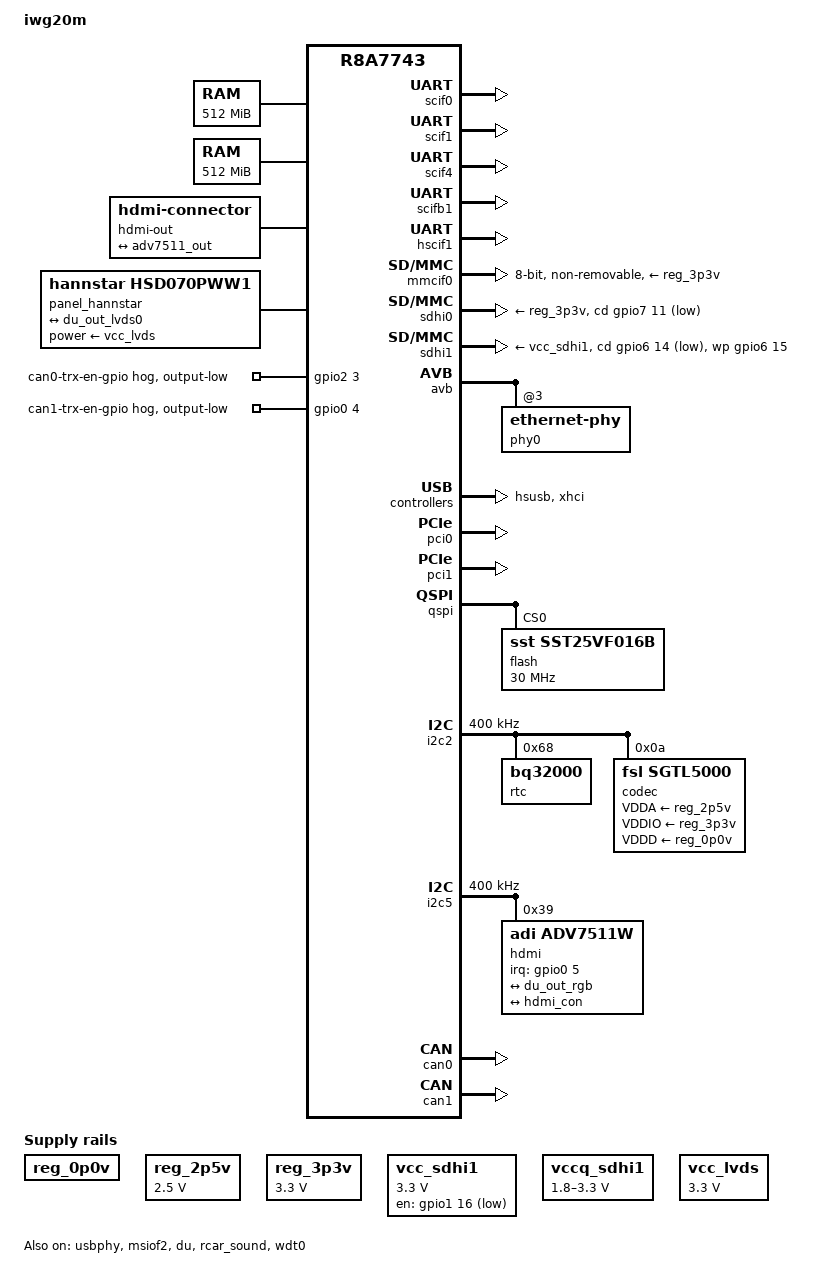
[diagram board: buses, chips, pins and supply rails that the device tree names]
/*
 * Copyright (c) 2015 iWave Systems Technologies Pvt. Ltd.
 *
 * The code contained herein is licensed under the GNU General Public
 * License. You may obtain a copy of the GNU General Public License
 * Version 2 or later at the following locations:
 *
 * http://www.opensource.org/licenses/gpl-license.html
 * http://www.gnu.org/copyleft/gpl.html
 */

/dts-v1/;
#include "r8a7743.dtsi"
#include <dt-bindings/gpio/gpio.h>
#include <dt-bindings/input/input.h>

/ {
	model = "iwg20m";
	compatible = "iw,iwg20m", "renesas,r8a7743";

	aliases {
		serial0 = &scif0;
		serial1 = &scif1;
		serial2 = &scif4;
		serial3 = &scifb1;
		serial4 = &hscif1;
		eth = &avb;
	};

	memory@40000000 {
		device_type = "memory";
		reg = <0 0x40000000 0 0x20000000>;
	};

	memory@200000000 {
		device_type = "memory";
		reg = <2 0x00000000 0 0x20000000>;
	};

	reg_0p0v: 0p0v {
		compatible = "regulator-fixed";
		regulator-name = "0P0V";
		regulator-min-microvolt = <0000000>;
		regulator-max-microvolt = <0000000>;
		regulator-always-on;
	};

	reg_2p5v: 2p5v {
		compatible = "regulator-fixed";
		regulator-name = "2P5V";
		regulator-min-microvolt = <2500000>;
		regulator-max-microvolt = <2500000>;
		regulator-always-on;
	};

	reg_3p3v: 3p3v {
		compatible = "regulator-fixed";
		regulator-name = "3P3V";
		regulator-min-microvolt = <3300000>;
		regulator-max-microvolt = <3300000>;
		regulator-always-on;
		regulator-boot-on;
	};

	vcc_sdhi1: reg_vcc_sdhi1 {
		compatible = "regulator-fixed";

		regulator-name = "SDHI1 Vcc";
		regulator-min-microvolt = <3300000>;
		regulator-max-microvolt = <3300000>;

		gpio = <&gpio1 16 GPIO_ACTIVE_LOW>;
	};

	vccq_sdhi1: reg_vccq_sdhi1 {
		compatible = "regulator-gpio";

		regulator-name = "SDHI1 VccQ";
		regulator-min-microvolt = <1800000>;
		regulator-max-microvolt = <3300000>;

		gpios = <&gpio2 30 GPIO_ACTIVE_LOW>;
		gpios-states = <1>;
		states = <3300000 1
				  1800000 0>;
	};

	vcc_lvds: regulator@4 {
		compatible = "regulator-fixed";

		regulator-name = "panel vcc";
		regulator-min-microvolt = <3300000>;
		regulator-max-microvolt = <3300000>;
		regulator-always-on;
	};

	x3_clk: x3-clock {
		compatible = "fixed-clock";
		#clock-cells = <0>;
		clock-frequency = <148500000>;
	};

	x9_clk: x9-clock {
		compatible = "fixed-clock";
		#clock-cells = <0>;
		clock-frequency = <26000000>;
		clock-output-names = "audio_clock";
	};

	hdmi-out {
		compatible = "hdmi-connector";
		type = "a";

		port {
			hdmi_con: endpoint {
				remote-endpoint = <&adv7511_out>;
			};
		};
	};

	panel_hannstar: panel@0 {
		compatible = "hannstar,hsd070pww1", "simple-panel";
		power-supply = <&vcc_lvds>;

		ports {
			#address-cells = <1>;
			#size-cells = <0>;

			port@0 {
				#address-cells = <1>;
				#size-cells = <0>;
				reg = <0>;
				panel_input: endpoint {
					reg = <0>;
					remote-endpoint = <&du_out_lvds0>;
				};
			};
		};
	};

	sound {
		compatible = "simple-audio-card";

		simple-audio-card,format = "i2s";
		simple-audio-card,bitclock-master = <&soundcodec>;
		simple-audio-card,frame-master = <&soundcodec>;
		simple-audio-card,routing =
					"MIC_IN", "Mic Jack",
					"Mic Jack", "Mic Bias",
					"Headphone Jack", "HP_OUT";

		simple-audio-card,cpu {
			sound-dai = <&rcar_sound>;
		};

		soundcodec: simple-audio-card,codec {
			sound-dai = <&codec>;
			clocks = <&x9_clk>;
			system-clock-frequency = <26000000>;
		};
	};
};

&extal_clk {
	clock-frequency = <20000000>;
};

&pfc {
	scif0_pins: serial0 {
		renesas,groups = "scif0_data_d";
		renesas,function = "scif0";
	};

	scif1_pins: serial1 {
		renesas,groups = "scif1_data_d";
		renesas,function = "scif1";
	};

	scif4_pins: serial2 {
		renesas,groups = "scif4_data_c";
		renesas,function = "scif4";
	};

	scifb1_pins: serial3 {
		renesas,groups = "scifb1_data_d", "scifb1_ctrl";
		renesas,function = "scifb1";
	};

	hscif1_pins: serial4 {
                renesas,groups = "hscif1_data_c", "hscif1_ctrl_c";
                renesas,function = "hscif1";
	};

	mmcif0_pins: mmc {
		renesas,groups = "mmc_data8", "mmc_ctrl";
		renesas,function = "mmc";
	};

	sdhi0_pins: sd0 {
		renesas,groups = "sdhi0_data4", "sdhi0_ctrl";
		renesas,function = "sdhi0";
	};

	sdhi1_pins: sd2 {
		renesas,groups = "sdhi1_data4", "sdhi1_ctrl";
		renesas,function = "sdhi1";
	};

	avb_pins: avb {
		renesas,groups = "avb_mdio", "avb_gmii", "avb_phy_int";
		renesas,function = "avb";
	};

	usb0_pins: usb0 {
		renesas,groups = "usb0";
		renesas,function = "usb0";
	};

	usb1_pins: usb1 {
		renesas,groups = "usb1";
		renesas,function = "usb1";
	};

	qspi_pins: spi0 {
		renesas,groups = "qspi_ctrl", "qspi_data2";
		renesas,function = "qspi";
	};

	msiof1_pins: spi2 {
		renesas,groups = "msiof1_ss2_b", "msiof1_rx_b", "msiof1_tx_b",
				 "msiof1_clk_b" , "msiof1_sync_b";
		renesas,function = "msiof1";
	};

	msiof2_pins: spi3 {
		renesas,groups = "msiof2_clk", "msiof2_tx_d", "msiof2_rx_d", 
				"msiof2_ss1_d", "msiof2_sync_d";
		renesas,function = "msiof2";
	};

	i2c2_pins: i2c2 {
		renesas,groups = "i2c2";
		renesas,function = "i2c2";
	};

	du_pins: du {
		renesas,groups = "du_rgb888", "du_sync", "du_disp", "du_clk_out_0";
		renesas,function = "du";
	};

	sound_pins: sound {
		renesas,groups = "ssi0129_ctrl", "ssi0_data", "ssi1_data";
		renesas,function = "ssi";
	};

	can0_pins: can0 {
		renesas,groups = "can0_data_d";
		renesas,function = "can0";
	};

	can1_pins: can1 {
		renesas,groups = "can1_data_d";
		renesas,function = "can1";
	};
};

&scif0 {
	pinctrl-0 = <&scif0_pins>;
	pinctrl-names = "default";

	status = "okay";
};

&scif1 {
	pinctrl-0 = <&scif1_pins>;
	pinctrl-names = "default";

	status = "okay";
};

&scif4 {
	pinctrl-0 = <&scif4_pins>;
	pinctrl-names = "default";

	status = "okay";
};

&scifb1 {
        pinctrl-0 = <&scifb1_pins>;
        pinctrl-names = "default";
	    ctsrts;

        status = "okay";
};

&hscif1 {
        pinctrl-0 = <&hscif1_pins>;
        pinctrl-names = "default";
        ctsrts;
        status = "okay";
};

&mmcif0 {
        pinctrl-0 = <&mmcif0_pins>;
        pinctrl-names = "default";

        vmmc-supply = <&reg_3p3v>;
        bus-width = <8>;
        non-removable;
        status = "okay";
};

&sdhi0 {
	pinctrl-0 = <&sdhi0_pins>;
	pinctrl-names = "default";

	vmmc-supply = <&reg_3p3v>;
	vqmmc-supply = <&reg_3p3v>;
	cd-gpios = <&gpio7 11 GPIO_ACTIVE_LOW>;
	status = "okay";
};

&sdhi1 {
	pinctrl-0 = <&sdhi1_pins>;
	pinctrl-names = "default";

	vmmc-supply = <&vcc_sdhi1>;
	vqmmc-supply = <&vccq_sdhi1>;
	cd-gpios = <&gpio6 14 GPIO_ACTIVE_LOW>;
	wp-gpios = <&gpio6 15 GPIO_ACTIVE_HIGH>;
	status = "okay";
};

&avb {
	pinctrl-0 = <&avb_pins>;
	pinctrl-names = "default";

	phy-handle = <&phy0>;
	renesas,no-ether-link;
	status = "okay";

	phy0: ethernet-phy@0 {
		reg = <3>;
		micrel,led-mode = <1>;
	};
};

&hsusb {
	status = "okay";
	pinctrl-0 = <&usb0_pins>;
	pinctrl-names = "default";
};

&usbphy {
	status = "okay";
};

&xhci {
	status = "okay";
};

&pci0 {
	status = "okay";
	pinctrl-0 = <&usb0_pins>;
	pinctrl-names = "default";
};

&pci1 {
	status = "okay";
	pinctrl-0 = <&usb1_pins>;
	pinctrl-names = "default";
};

&qspi {
	pinctrl-0 = <&qspi_pins>;
	pinctrl-names = "default";

	status = "okay";

	flash: flash@0 {
		#address-cells = <1>;
		#size-cells = <1>;
		compatible = "sst,sst25vf016b";
		reg = <0>;
		spi-max-frequency = <30000000>;
		spi-tx-bus-width = <1>;
		spi-rx-bus-width = <1>;
		m25p,fast-read;
		spi-cpol;
		spi-cpha;
	};
};

&msiof1 {
       pinctrl-0 = <&msiof1_pins>;
       pinctrl-names = "default";

};

&msiof2 {
        pinctrl-0 = <&msiof2_pins>;
        pinctrl-names = "default";

        status = "okay";
};

&i2c2 {
	pinctrl-0 = <&i2c2_pins>;
	pinctrl-names = "default";

	status = "okay";
	clock-frequency = <400000>;

	rtc@68 {
		compatible = "bq32000";
		reg = <0x68>;
	};

	codec: sgtl5000@0a {
		#sound-dai-cells = <0>;
		compatible = "fsl,sgtl5000";
		reg = <0x0a>;
		VDDA-supply = <&reg_2p5v>;
		VDDIO-supply = <&reg_3p3v>;
		VDDD-supply = <&reg_0p0v>;
		clocks = <&x9_clk 1>;
	};
};

&i2c5 {
	pinctrl-names = "default";
	status = "okay";
	clock-frequency = <400000>;

	hdmi@39 {
		compatible = "adi,adv7511w";
		reg = <0x39>;
		interrupt-parent = <&gpio0>;
		interrupts = <5 IRQ_TYPE_LEVEL_LOW>;

		adi,input-depth = <8>;
		adi,input-colorspace = "rgb";
		adi,input-clock = "1x";
		adi,input-style = <1>;
		adi,input-justification = "evenly";

		ports {
			#address-cells = <1>;
			#size-cells = <0>;

			port@0 {
				reg = <0>;
				adv7511_in: endpoint {
					remote-endpoint = <&du_out_rgb>;
				};
			};

			port@1 {
				reg = <1>;
				adv7511_out: endpoint {
					remote-endpoint = <&hdmi_con>;
				};
			};
		};
	};
};

&du {
	pinctrl-0 = <&du_pins>;
	pinctrl-names = "default";
	status = "okay";

	clocks = <&mstp7_clks R8A7743_CLK_DU0>,
		 <&mstp7_clks R8A7743_CLK_DU1>,
		 <&mstp7_clks R8A7743_CLK_LVDS0>,
		 <&x3_clk>;
	clock-names = "du.0", "du.1", "lvds.0",
		      "dclkin.0";

	ports {
		port@0 {
			endpoint {
				remote-endpoint = <&adv7511_in>;
			};
		};
		port@1 {
			endpoint {
				remote-endpoint = <&panel_input>;
			};
		};
	};
};

&rcar_sound {
	pinctrl-0 = <&sound_pins>;
	pinctrl-names = "default";
	status = "okay";

	/* Single DAI */
	#sound-dai-cells = <0>;

	rcar_sound,dai {
		dai0 {
			playback = <&ssi1 &src1>;
			capture = <&ssi0 &src0>;
		};
	};
};

&ssi1 {
	shared-pin;
};

&can0 {
	pinctrl-0 = <&can0_pins>;
	pinctrl-names = "default";
	renesas,can-clock-select = <0x0>;
	status = "okay"; 
};

&can1 {
	pinctrl-0 = <&can1_pins>;
	pinctrl-names = "default";
	renesas,can-clock-select = <0x0>;
	status = "okay";
};

&gpio2 {
	can0-trx-en-gpio{
		gpio-hog;
		gpios = <3 GPIO_ACTIVE_HIGH>;
		output-low;
		line-name = "can0-trx-en-gpio";
	};
};

&gpio0 {
	can1-trx-en-gpio{
		gpio-hog;
		gpios = <4 GPIO_ACTIVE_HIGH>;
		output-low;
		line-name = "can1-trx-en-gpio";
	};
};

&wdt0{
	status = "okay";
};
